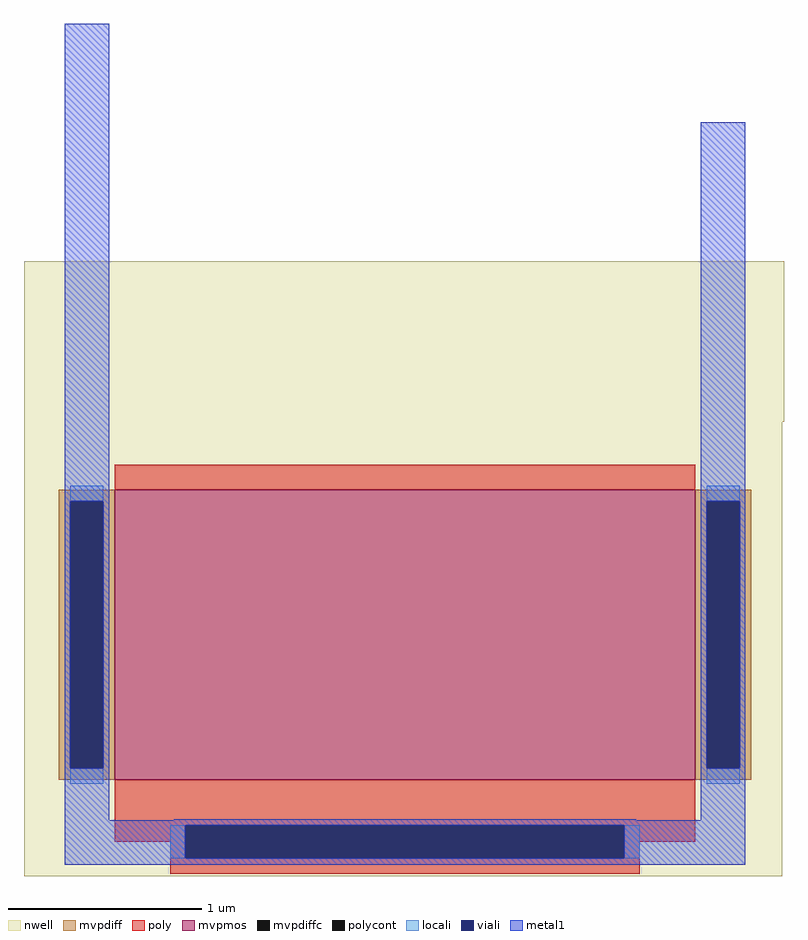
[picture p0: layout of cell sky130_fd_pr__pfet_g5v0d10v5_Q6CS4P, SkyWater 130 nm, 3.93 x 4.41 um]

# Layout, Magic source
magic
tech sky130A
magscale 1 2
<< nwell >>
rect -394 256 392 422
rect -394 -214 390 256
<< mvpmos >>
rect -300 -114 300 186
<< mvpdiff >>
rect -358 174 -300 186
rect -358 -102 -346 174
rect -312 -102 -300 174
rect -358 -114 -300 -102
rect 300 174 358 186
rect 300 -102 312 174
rect 346 -102 358 174
rect 300 -114 358 -102
<< mvpdiffc >>
rect -346 -102 -312 174
rect 312 -102 346 174
<< poly >>
rect -300 186 300 212
rect -300 -161 300 -114
rect -300 -178 -227 -161
rect -243 -195 -227 -178
rect 227 -178 300 -161
rect 227 -195 243 -178
rect -243 -211 243 -195
<< polycont >>
rect -227 -195 227 -161
<< locali >>
rect -346 174 -312 190
rect -346 -118 -312 -102
rect 312 174 346 190
rect 312 -118 346 -102
rect -243 -195 -227 -161
rect 227 -195 243 -161
<< viali >>
rect -346 -102 -312 174
rect 312 -102 346 174
rect -227 -195 227 -161
<< metal1 >>
rect -352 174 -306 668
rect -352 -102 -346 174
rect -312 -102 -306 174
rect -352 -156 -306 -102
rect 306 174 352 566
rect 306 -102 312 174
rect 346 -102 352 174
rect -239 -156 239 -155
rect 306 -156 352 -102
rect -352 -161 352 -156
rect -352 -195 -227 -161
rect 227 -195 352 -161
rect -352 -202 352 -195
<< properties >>
string gencell sky130_fd_pr__pfet_g5v0d10v5
string library sky130
string parameters w 1.5 l 3 m 1 nf 1 diffcov 100 polycov 80 guard 0 glc 1 grc 1 gtc 1 gbc 1 tbcov 100 rlcov 100 topc 0 botc 1 poverlap 0 doverlap 1 lmin 0.50 wmin 0.42 class mosfet compatible {sky130_fd_pr__pfet_01v8  sky130_fd_pr__pfet_01v8_lvt sky130_fd_pr__pfet_01v8_hvt  sky130_fd_pr__pfet_g5v0d10v5} full_metal 1 viasrc 100 viadrn 100 viagate 80 viagb 0 viagr 0 viagl 0 viagt 0
<< end >>
